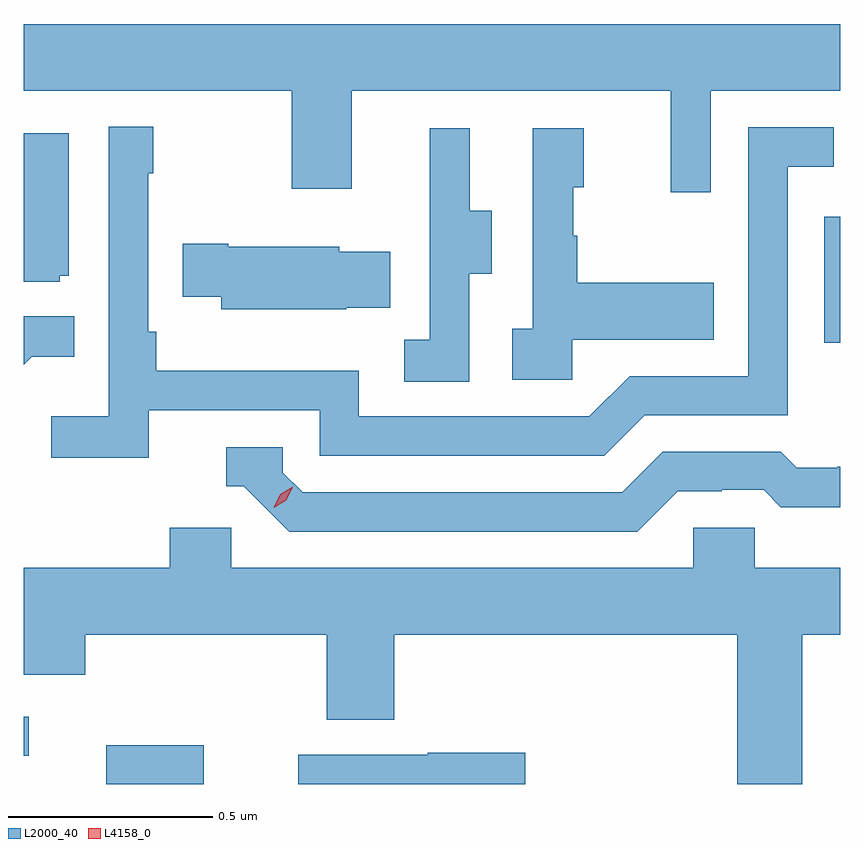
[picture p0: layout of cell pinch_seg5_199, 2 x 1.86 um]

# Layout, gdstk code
import gdstk
lib = gdstk.Library(unit=1e-6, precision=1e-09)
def R(c, l, rs):  # rectangles x0, y0, x1, y1
    for r in rs: c.add(gdstk.rectangle(r[:2], r[2:], *l))
def P(c, l, *ps):  # polygons
    for p in ps: c.add(gdstk.Polygon(p, *l))
L2000_40 = (2000, 40)
L4158_0 = (4158, 0)

pinch_seg5_199 = lib.new_cell('pinch_seg5_199')
R(pinch_seg5_199, L2000_40, [(985.439,908.343,985.678,908.438), (985.237,908.412,985.249,908.508), (987.198,909.423,987.237,909.732)])
P(pinch_seg5_199, L2000_40, [(986.919,910.04),(987.237,910.04),(987.237,910.204),(985.237,910.204),(985.237,910.04),(985.894,910.04),(985.894,909.801),(986.041,909.801),(986.041,910.04),(986.822,910.04),(986.822,909.792),(986.919,909.792)],
  [(985.544,909.258),(985.962,909.258),(985.962,909.147),(986.659,909.147),(986.758,909.246),(987.108,909.246),(987.108,909.855),(987.221,909.855),(987.221,909.951),(987.012,909.951),(987.012,909.342),(986.721,909.342),(986.622,909.243),(986.058,909.243),(986.058,909.355),(985.562,909.355),(985.562,909.451),(985.542,909.451),(985.542,909.839),(985.555,909.839),(985.555,909.952),(985.446,909.952),(985.446,909.244),(985.305,909.244),(985.305,909.142),(985.544,909.142)],
  [(986.328,909.592),(986.383,909.592),(986.383,909.747),(986.329,909.747),(986.329,909.949),(986.231,909.949),(986.231,909.735),(986.232,909.735),(986.232,909.431),(986.169,909.431),(986.169,909.328),(986.328,909.328)],
  [(986.58,909.431),(986.927,909.431),(986.927,909.571),(986.593,909.571),(986.593,909.686),(986.583,909.686),(986.583,909.804),(986.608,909.804),(986.608,909.949),(986.484,909.949),(986.484,909.458),(986.433,909.458),(986.433,909.333),(986.58,909.333)],
  [(985.326,909.588),(985.348,909.588),(985.348,909.937),(985.237,909.937),(985.237,909.573),(985.326,909.573)],
  [(986.027,909.509),(986.135,909.509),(986.135,909.646),(986.01,909.646),(986.01,909.658),(985.738,909.658),(985.738,909.666),(985.627,909.666),(985.627,909.536),(985.721,909.536),(985.721,909.506),(986.027,909.506)],
  [(985.257,909.389),(985.361,909.389),(985.361,909.488),(985.237,909.488),(985.237,909.369)],
  [(986.839,909.06),(986.946,909.06),(986.946,909.063),(987.049,909.063),(987.091,909.021),(987.237,909.021),(987.237,909.12),(987.229,909.12),(987.229,909.117),(987.13,909.117),(987.091,909.156),(986.802,909.156),(986.703,909.057),(985.92,909.057),(985.872,909.105),(985.872,909.168),(985.733,909.168),(985.733,909.072),(985.776,909.072),(985.887,908.961),(986.74,908.961)],
  [(987.144,908.708),(987.237,908.708),(987.237,908.872),(987.027,908.872),(987.027,908.97),(986.877,908.97),(986.877,908.872),(985.746,908.872),(985.746,908.97),(985.595,908.97),(985.595,908.872),(985.237,908.872),(985.237,908.61),(985.388,908.61),(985.388,908.708),(985.979,908.708),(985.979,908.5),(986.144,908.5),(986.144,908.708),(986.984,908.708),(986.984,908.343),(987.144,908.343)],
  [(986.465,908.42),(986.227,908.42),(986.227,908.415),(985.909,908.415),(985.909,908.343),(986.465,908.343)])
P(pinch_seg5_199, L4158_0, [(985.849,909.019),(985.849,909.019),(985.865,909.052),(985.896,909.071),(985.896,909.071),(985.896,909.071),(985.88,909.038),(985.85,909.019)])

lib.write_gds('pinch_seg5_199.gds')
